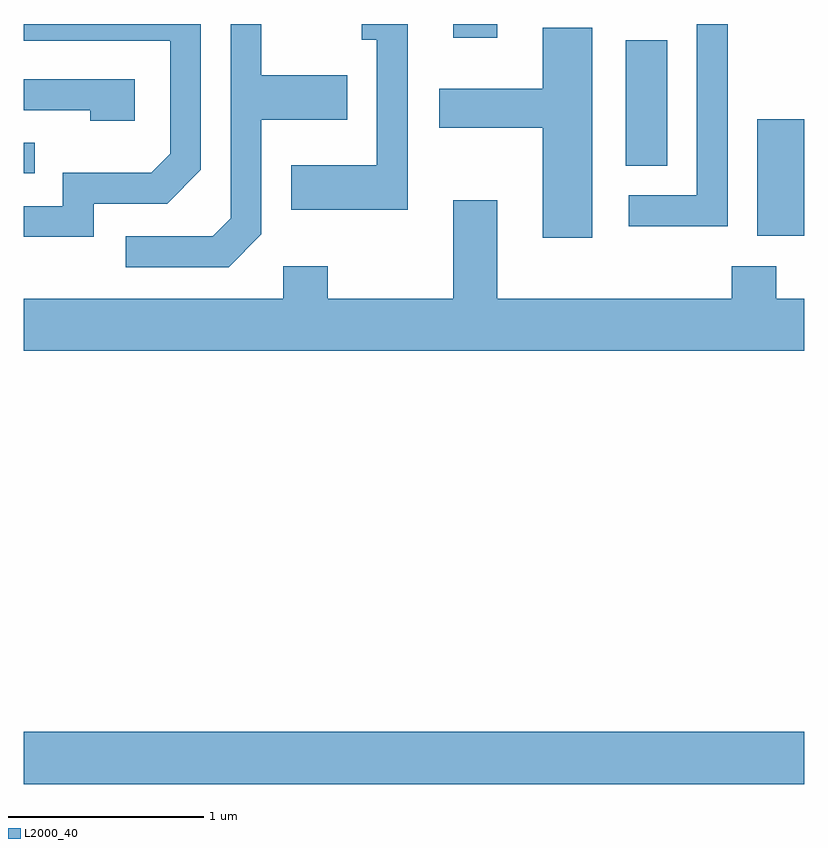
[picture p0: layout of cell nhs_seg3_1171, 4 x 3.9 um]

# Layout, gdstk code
import gdstk
lib = gdstk.Library(unit=1e-6, precision=1e-09)
def R(c, l, rs):  # rectangles x0, y0, x1, y1
    for r in rs: c.add(gdstk.rectangle(r[:2], r[2:], *l))
def P(c, l, *ps):  # polygons
    for p in ps: c.add(gdstk.Polygon(p, *l))
L2000_40 = (2000, 40)

nhs_seg3_1171 = lib.new_cell('nhs_seg3_1171')
R(nhs_seg3_1171, L2000_40, [(219.611,1145.996,223.611,1146.264), (223.371,1148.806,223.611,1149.404), (219.611,1149.126,219.668,1149.284), (222.696,1149.166,222.909,1149.809), (221.811,1149.821,222.039,1149.892)])
P(nhs_seg3_1171, L2000_40, [(219.969,1148.971),(220.347,1148.971),(220.519,1149.144),(220.519,1149.892),(219.611,1149.892),(219.611,1149.806),(220.361,1149.806),(220.361,1149.227),(220.264,1149.129),(219.811,1149.129),(219.811,1148.959),(219.611,1148.959),(219.611,1148.801),(219.969,1148.801)],
  [(221.579,1149.892),(221.343,1149.892),(221.343,1149.811),(221.421,1149.811),(221.421,1149.169),(220.981,1149.169),(220.981,1148.941),(221.579,1148.941)],
  [(223.219,1149.892),(223.061,1149.892),(223.061,1149.014),(222.713,1149.014),(222.713,1148.856),(223.219,1148.856)],
  [(220.829,1148.814),(220.829,1149.401),(221.269,1149.401),(221.269,1149.629),(220.829,1149.629),(220.829,1149.892),(220.671,1149.892),(220.671,1148.897),(220.579,1148.804),(220.133,1148.804),(220.133,1148.646),(220.662,1148.646)],
  [(222.524,1149.874),(222.271,1149.874),(222.271,1149.559),(221.741,1149.559),(221.741,1149.361),(222.271,1149.361),(222.271,1148.796),(222.524,1148.796)],
  [(220.179,1149.609),(219.611,1149.609),(219.611,1149.451),(219.951,1149.451),(219.951,1149.396),(220.179,1149.396)],
  [(223.611,1148.484),(223.469,1148.484),(223.469,1148.649),(223.241,1148.649),(223.241,1148.484),(222.039,1148.484),(222.039,1148.989),(221.811,1148.989),(221.811,1148.484),(221.169,1148.484),(221.169,1148.649),(220.941,1148.649),(220.941,1148.484),(219.611,1148.484),(219.611,1148.216),(223.611,1148.216)])

lib.write_gds('nhs_seg3_1171.gds')
